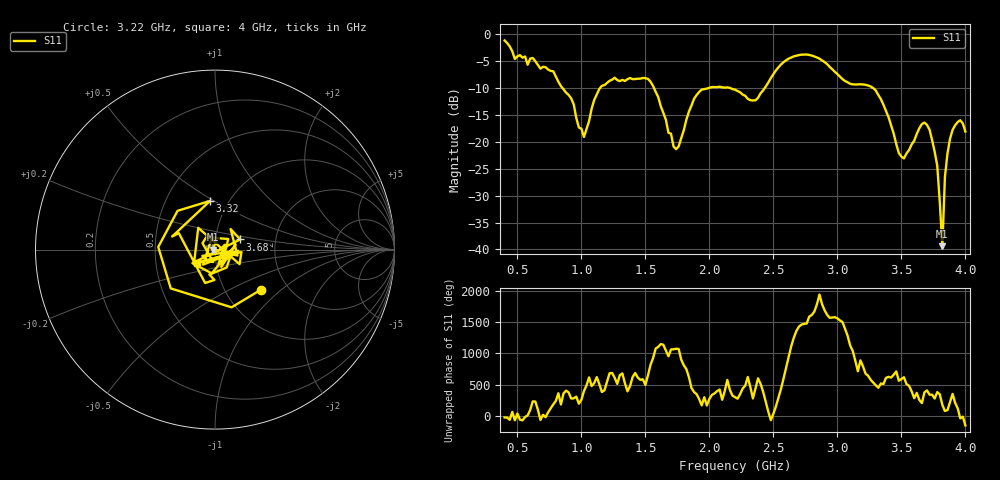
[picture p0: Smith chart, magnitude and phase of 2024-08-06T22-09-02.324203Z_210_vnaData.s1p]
!Created with skrf (http://scikit-rf.org).
# Hz S RI R 50.0
!freq ReS11 ImS11
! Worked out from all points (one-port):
!   181 points, 400 MHz to 4 GHz, reference 50 ohm
!   lowest |S11| = -39.4 dB at 3.82 GHz (marker M1), VSWR 1.02, Z = 48.9 - j0.0631 ohm
!   |S11| at or under -10 dB: 853 MHz to 1.145 GHz (292.2 MHz wide, 29.2 % of centre); 1.567 GHz to 1.991 GHz (423.5 MHz wide, 23.8 % of centre); 3.28 GHz to end of sweep (the widest 3 of 4)
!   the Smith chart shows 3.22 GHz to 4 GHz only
!   S11 on the Smith chart (normalised r, x): 3.22 GHz: 1.46, -0.74; 3.32 GHz: 0.82, +0.48; 3.68 GHz: 1.32, +0.15; 4 GHz: 0.81, -0.12
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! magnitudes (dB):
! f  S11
! 400 MHz  -1.1
! 480 MHz  -4.6
! 620 MHz  -4.4
! 860 MHz  -10.2
! 1.02 GHz  -19.1
! 1.14 GHz  -10.2
! 1.3 GHz  -8.7
! 1.54 GHz  -8.8
! 1.72 GHz  -20.9
! 1.76 GHz  -20.8
! 1.92 GHz  -10.7
! 2.2 GHz  -10.3
! 2.36 GHz  -12.3
! 2.66 GHz  -4.1
! 2.86 GHz  -4.5
! 3.1 GHz  -9.2
! 3.22 GHz  -9.4
! 3.32 GHz  -11.3
! 3.48 GHz  -22.1
! 3.56 GHz  -21.5
! 3.68 GHz  -16.4
! 3.72 GHz  -17.7
! 3.78 GHz  -24.4
! 3.82 GHz  -39.4
! 3.84 GHz  -26.5
! 3.88 GHz  -19.4
! 3.96 GHz  -16.0
! 4 GHz  -18.1
